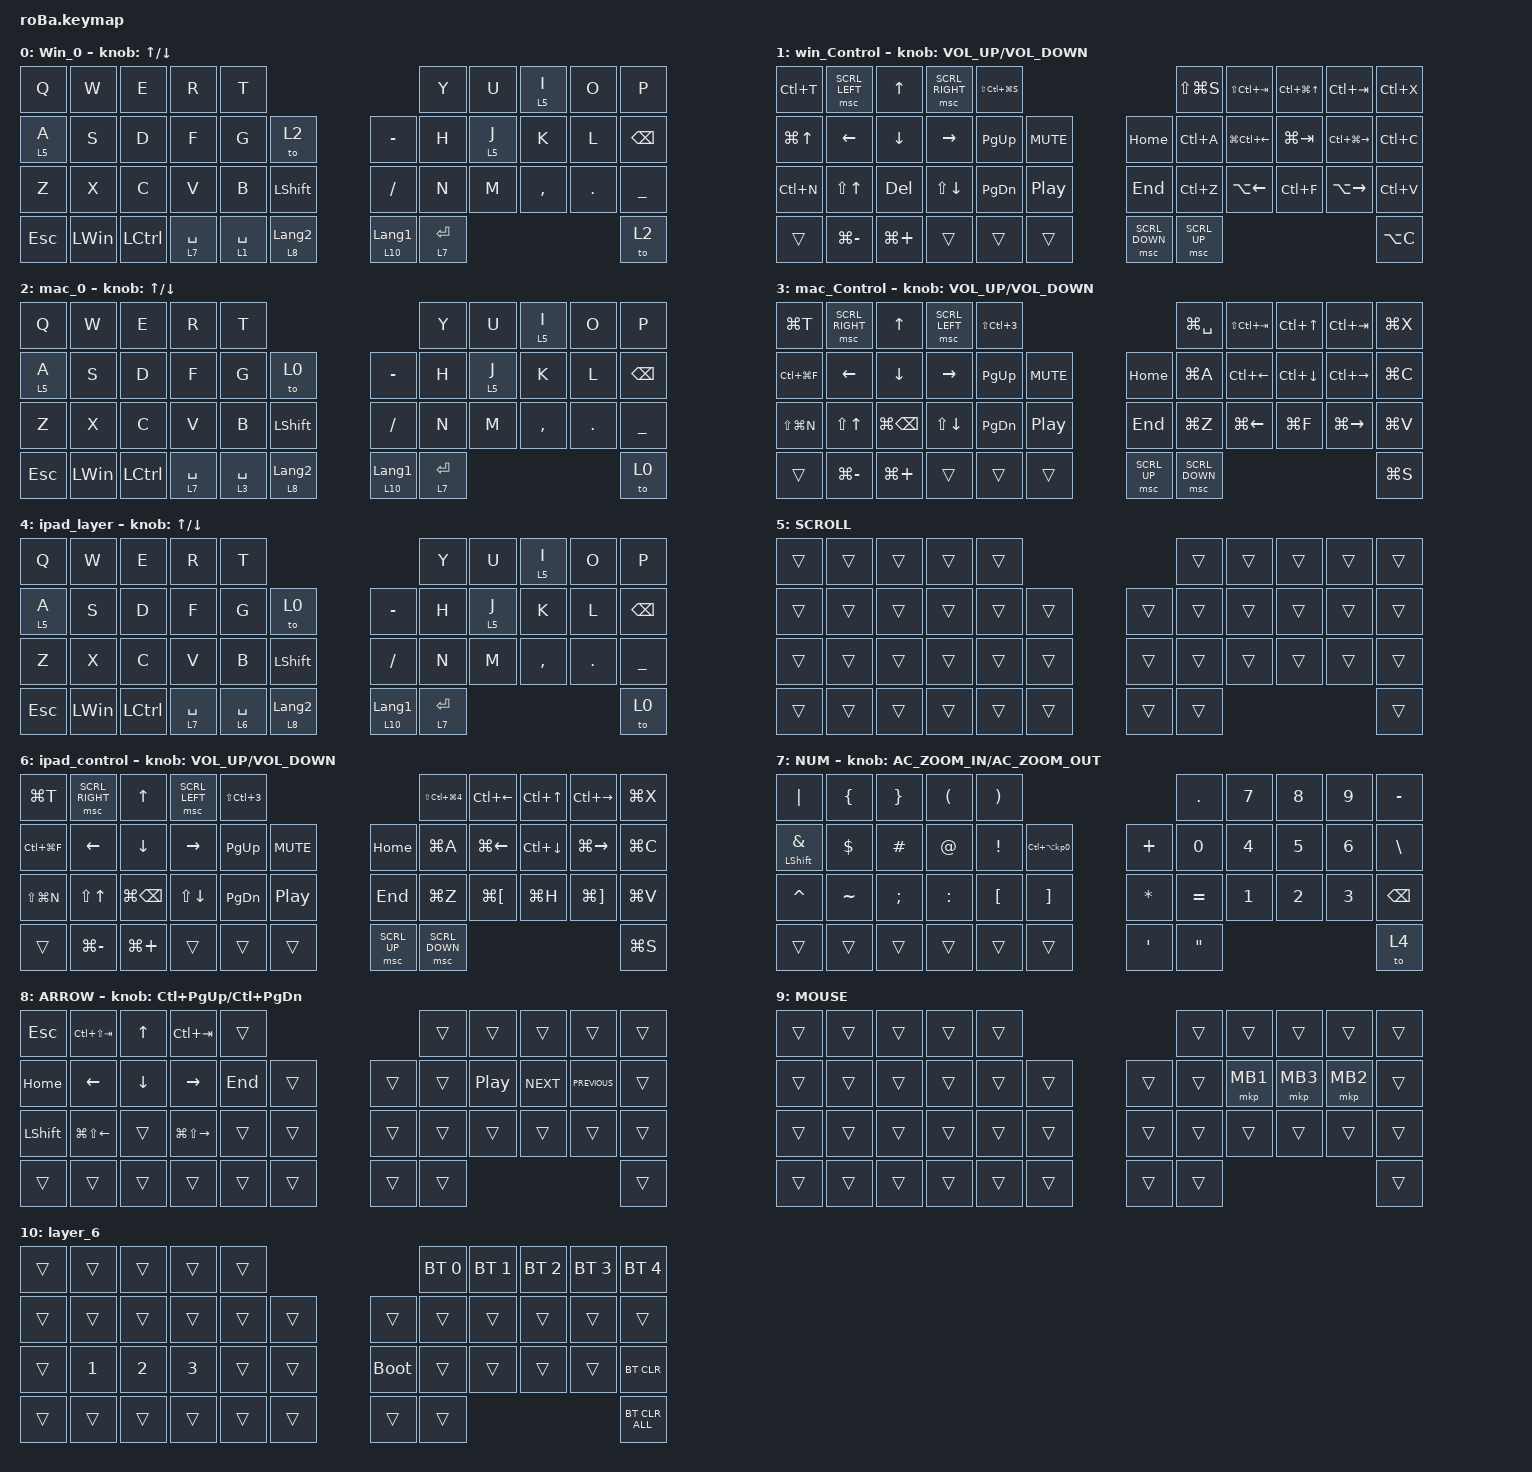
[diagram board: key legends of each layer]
#include <behaviors.dtsi>
#include <dt-bindings/zmk/bt.h>
#include <dt-bindings/zmk/keys.h>
#include <dt-bindings/zmk/pointing.h>

&mt {
    flavor = "balanced";
    quick-tap-ms = <0>;
};

&trackball {
    // automouse-layer = <4>;

    scroll-layers = <5>;

    // arrows {
    //     layers = <3>;
    //     bindings =
    //         <&kp RIGHT_ARROW>,
    //         <&kp LEFT_ARROW>,
    //         <&kp UP_ARROW>,
    //         <&kp DOWN_ARROW>;
    //     tick = <10>;
    //     wait-ms = <5>;
    //     tap-ms = <5>;
    // };
};

/ {
    combos {
        compatible = "zmk,combos";

        tab {
            bindings = <&kp LS(TAB)>;
            key-positions = <11 12>;
        };

        shift_tab {
            bindings = <&kp TAB>;
            key-positions = <12 13>;
        };

        muhennkann {
            bindings = <&to_layer_0 INT_MUHENKAN>;
            key-positions = <11 10>;
        };

        enter {
            bindings = <&kp ENTER>;
            key-positions = <20 21>;
        };

        eq {
            bindings = <&kp EQUAL>;
            key-positions = <24 25>;
        };

        mb1 {
            bindings = <&mkp MB1>;
            key-positions = <18 19>;
        };

        mb2 {
            bindings = <&mkp MB2>;
            key-positions = <19 20>;
        };
    };

    macros {
        to_layer_0: to_layer_0 {
            compatible = "zmk,behavior-macro-one-param";
            #binding-cells = <1>;
            bindings = <&to 2 &macro_param_1to1 &kp MACRO_PLACEHOLDER>;
            label = "TO_LAYER_0";
        };
    };

    behaviors {
        lt_to_layer_0: lt_to_layer_0 {
            compatible = "zmk,behavior-hold-tap";
            label = "LAYER_TAP_TO_0";
            bindings = <&mo>, <&to_layer_0>;

            #binding-cells = <2>;
            tapping-term-ms = <200>;
        };
    };

    keymap {
        compatible = "zmk,keymap";

        Win_0 {
            bindings = <
&kp Q    &kp W         &kp E             &kp R                   &kp T                                                                       &kp Y        &kp U               &lt 5 I    &kp O    &kp P
&lt 5 A  &kp S         &kp D             &kp F                   &kp G        &to 2                            &kp MINUS                     &kp H        &lt_to_layer_0 5 J  &kp K      &kp L    &kp BACKSPACE
&kp Z    &kp X         &kp C             &kp V                   &kp B        &kp LEFT_SHIFT                   &kp SLASH                     &kp N        &kp M               &kp COMMA  &kp DOT  &kp UNDER
&kp ESC  &kp LEFT_WIN  &kp LEFT_CONTROL  &lt_to_layer_0 7 SPACE  &lt 1 SPACE  &lt_to_layer_0 8 LANGUAGE_2      &lt_to_layer_0 10 LANGUAGE_1  &lt 7 ENTER                                          &to 2
            >;

            sensor-bindings = <&inc_dec_kp UP DOWN>;
        };

        win_Control {
            bindings = <
&kp LC(T)         &msc SCRL_LEFT  &kp UP        &msc SCRL_RIGHT  &kp LS(LC(LG(S)))                                        &kp LS(LG(S))  &kp LS(LC(TAB))   &kp LC(LG(UP))  &kp LC(TAB)        &kp LC(X)
&kp LG(UP_ARROW)  &kp LEFT        &kp DOWN      &kp RIGHT        &kp PAGE_UP        &kp C_MUTE            &kp HOME        &kp LC(A)      &kp LG(LC(LEFT))  &kp LG(TAB)     &kp LC(LG(RIGHT))  &kp LC(C)
&kp LC(N)         &kp LS(UP)      &kp DELETE    &kp LS(DOWN)     &kp PAGE_DOWN      &kp C_PLAY_PAUSE      &kp END         &kp LC(Z)      &kp LA(LEFT)      &kp LC(F)       &kp LA(RIGHT)      &kp LC(V)
&trans            &kp LG(MINUS)   &kp LG(PLUS)  &trans           &trans             &trans                &msc SCRL_DOWN  &msc SCRL_UP                                                        &kp LA(C)
            >;

            sensor-bindings = <&inc_dec_kp C_VOLUME_UP C_VOLUME_DOWN>;
        };

        mac_0 {
            bindings = <
&kp Q    &kp W         &kp E             &kp R                   &kp T                                                                       &kp Y        &kp U               &lt 5 I    &kp O    &kp P
&lt 5 A  &kp S         &kp D             &kp F                   &kp G        &to 0                            &kp MINUS                     &kp H        &lt_to_layer_0 5 J  &kp K      &kp L    &kp BACKSPACE
&kp Z    &kp X         &kp C             &kp V                   &kp B        &kp LEFT_SHIFT                   &kp SLASH                     &kp N        &kp M               &kp COMMA  &kp DOT  &kp UNDER
&kp ESC  &kp LEFT_WIN  &kp LEFT_CONTROL  &lt_to_layer_0 7 SPACE  &lt 3 SPACE  &lt_to_layer_0 8 LANGUAGE_2      &lt_to_layer_0 10 LANGUAGE_1  &lt 7 ENTER                                          &to 0
            >;

            sensor-bindings = <&inc_dec_kp UP DOWN>;
        };

        mac_Control {
            bindings = <
&kp LG(T)      &msc SCRL_RIGHT  &kp UP             &msc SCRL_LEFT  &kp LS(LC(NUMBER_3))                                      &kp LG(SPACE)   &kp LS(LC(TAB))  &kp LC(UP)    &kp LC(TAB)    &kp LG(X)
&kp LC(LG(F))  &kp LEFT         &kp DOWN           &kp RIGHT       &kp PAGE_UP           &kp C_MUTE            &kp HOME      &kp LG(A)       &kp LC(LEFT)     &kp LC(DOWN)  &kp LC(RIGHT)  &kp LG(C)
&kp LS(LG(N))  &kp LS(UP)       &kp LG(BACKSPACE)  &kp LS(DOWN)    &kp PAGE_DOWN         &kp C_PLAY_PAUSE      &kp END       &kp LG(Z)       &kp LG(LEFT)     &kp LG(F)     &kp LG(RIGHT)  &kp LG(V)
&trans         &kp LG(MINUS)    &kp LG(PLUS)       &trans          &trans                &trans                &msc SCRL_UP  &msc SCRL_DOWN                                                &kp LG(S)
            >;

            sensor-bindings = <&inc_dec_kp C_VOLUME_UP C_VOLUME_DOWN>;
        };

        ipad_layer {
            bindings = <
&kp Q    &kp W         &kp E             &kp R                   &kp T                                                                       &kp Y        &kp U               &lt 5 I    &kp O    &kp P
&lt 5 A  &kp S         &kp D             &kp F                   &kp G        &to 0                            &kp MINUS                     &kp H        &lt_to_layer_0 5 J  &kp K      &kp L    &kp BACKSPACE
&kp Z    &kp X         &kp C             &kp V                   &kp B        &kp LEFT_SHIFT                   &kp SLASH                     &kp N        &kp M               &kp COMMA  &kp DOT  &kp UNDER
&kp ESC  &kp LEFT_WIN  &kp LEFT_CONTROL  &lt_to_layer_0 7 SPACE  &lt 6 SPACE  &lt_to_layer_0 8 LANGUAGE_2      &lt_to_layer_0 10 LANGUAGE_1  &lt 7 ENTER                                          &to 0
            >;

            sensor-bindings = <&inc_dec_kp UP DOWN>;
        };

        SCROLL {
            bindings = <
&trans  &trans  &trans  &trans  &trans                      &trans  &trans  &trans  &trans  &trans
&trans  &trans  &trans  &trans  &trans  &trans      &trans  &trans  &trans  &trans  &trans  &trans
&trans  &trans  &trans  &trans  &trans  &trans      &trans  &trans  &trans  &trans  &trans  &trans
&trans  &trans  &trans  &trans  &trans  &trans      &trans  &trans                          &trans
            >;
        };

        ipad_control {
            bindings = <
&kp LG(T)      &msc SCRL_RIGHT  &kp UP             &msc SCRL_LEFT  &kp LS(LC(NUMBER_3))                                      &kp LS(LC(LG(NUMBER_4)))  &kp LC(LEFT_ARROW)    &kp LC(UP)    &kp LC(RIGHT_ARROW)    &kp LG(X)
&kp LC(LG(F))  &kp LEFT         &kp DOWN           &kp RIGHT       &kp PAGE_UP           &kp C_MUTE            &kp HOME      &kp LG(A)                 &kp LG(LEFT)          &kp LC(DOWN)  &kp LG(RIGHT)          &kp LG(C)
&kp LS(LG(N))  &kp LS(UP)       &kp LG(BACKSPACE)  &kp LS(DOWN)    &kp PAGE_DOWN         &kp C_PLAY_PAUSE      &kp END       &kp LG(Z)                 &kp LG(LEFT_BRACKET)  &kp LG(H)     &kp LG(RIGHT_BRACKET)  &kp LG(V)
&trans         &kp LG(MINUS)    &kp LG(PLUS)       &trans          &trans                &trans                &msc SCRL_UP  &msc SCRL_DOWN                                                                       &kp LG(S)
            >;

            sensor-bindings = <&inc_dec_kp C_VOLUME_UP C_VOLUME_DOWN>;
        };

        NUM {
            bindings = <
&kp PIPE             &kp LEFT_BRACE  &kp RBRC  &kp LPAR     &kp RPAR                                                         &kp PERIOD         &kp NUMBER_7  &kp NUMBER_8  &kp NUMBER_9  &kp MINUS
&mt LEFT_SHIFT AMPS  &kp DOLLAR      &kp HASH  &kp AT_SIGN  &kp EXCLAMATION   &kp LC(LA(KP_NUMBER_0))      &kp PLUS          &kp NUMBER_0       &kp NUMBER_4  &kp NUMBER_5  &kp NUMBER_6  &kp BACKSLASH
&kp CARET            &kp TILDE       &kp SEMI  &kp COLON    &kp LEFT_BRACKET  &kp RIGHT_BRACKET            &kp ASTRK         &kp EQUAL          &kp NUMBER_1  &kp NUMBER_2  &kp NUMBER_3  &kp BACKSPACE
&trans               &trans          &trans    &trans       &trans            &trans                       &kp SINGLE_QUOTE  &kp DOUBLE_QUOTES                                            &to 4
            >;

            sensor-bindings = <&inc_dec_kp C_AC_ZOOM_IN C_AC_ZOOM_OUT>;
        };

        ARROW {
            bindings = <
&kp ESCAPE      &kp LC(LS(TAB))         &kp UP_ARROW    &kp LC(TAB)              &trans                       &trans  &trans            &trans      &trans          &trans
&kp HOME        &kp LEFT_ARROW          &kp DOWN_ARROW  &kp RIGHT_ARROW          &kp END  &trans      &trans  &trans  &kp C_PLAY_PAUSE  &kp C_NEXT  &kp C_PREVIOUS  &trans
&kp LEFT_SHIFT  &kp LG(LS(LEFT_ARROW))  &trans          &kp LG(LS(RIGHT_ARROW))  &trans   &trans      &trans  &trans  &trans            &trans      &trans          &trans
&trans          &trans                  &trans          &trans                   &trans   &trans      &trans  &trans                                                &trans
            >;

            sensor-bindings = <&inc_dec_kp LC(PAGE_UP) LC(PAGE_DOWN)>;
        };

        MOUSE {
            bindings = <
&trans  &trans  &trans  &trans  &trans                      &trans  &trans    &trans    &trans    &trans
&trans  &trans  &trans  &trans  &trans  &trans      &trans  &trans  &mkp MB1  &mkp MB3  &mkp MB2  &trans
&trans  &trans  &trans  &trans  &trans  &trans      &trans  &trans  &trans    &trans    &trans    &trans
&trans  &trans  &trans  &trans  &trans  &trans      &trans  &trans                                &trans
            >;
        };

        layer_6 {
            bindings = <
&trans  &trans        &trans        &trans        &trans                           &bt BT_SEL 0  &bt BT_SEL 1  &bt BT_SEL 2  &bt BT_SEL 3  &bt BT_SEL 4
&trans  &trans        &trans        &trans        &trans  &trans      &trans       &trans        &trans        &trans        &trans        &trans
&trans  &kp NUMBER_1  &kp NUMBER_2  &kp NUMBER_3  &trans  &trans      &bootloader  &trans        &trans        &trans        &trans        &bt BT_CLR
&trans  &trans        &trans        &trans        &trans  &trans      &trans       &trans                                                  &bt BT_CLR_ALL
            >;
        };
    };
};
